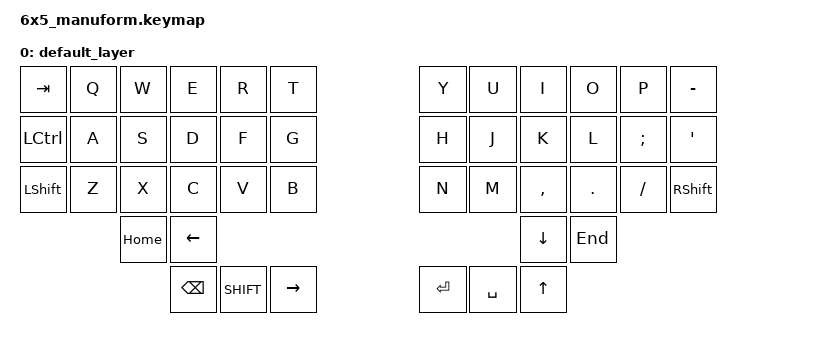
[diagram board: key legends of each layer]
/*
 * Copyright (c) 2020 The ZMK Contributors
 *
 * SPDX-License-Identifier: MIT
 */

#include <behaviors.dtsi>
#include <dt-bindings/zmk/keys.h>
#include <dt-bindings/zmk/bt.h>
#include <dt-bindings/zmk/ext_power.h>

/ {
	keymap {
		compatible = "zmk,keymap";

		default_layer {
// ------------------------------------------------------------------------------------------------------------
// |  ESC  |  1  |  2  |  3   |  4   |  5   |                   |  6   |  7    |  8    |  9   |   0   |   `   |
// |  TAB  |  Q  |  W  |  E   |  R   |  T   |                   |  Y   |  U    |  I    |  O   |   P   |   -   |
// |  CTRL |  A  |  S  |  D   |  F   |  G   |                   |  H   |  J    |  K    |  L   |   ;   |   '   |
// | SHIFT |  Z  |  X  |  C   |  V   |  B   |   "["  |  |  "]"  |  N   |  M    |  ,    |  .   |   /   | SHIFT |
//                     | ALT  | GUI  | LOWER|  SPACE |  | ENTER | RAISE| BSPC  | GUI   |
			bindings = <

&kp TAB   &kp Q  &kp W  	&kp E    &kp R    	&kp T                      &kp Y  &kp U    &kp I     &kp O   &kp P    &kp MINUS
&kp LCTRL &kp A  &kp S  	&kp D    &kp F    	&kp G                      &kp H  &kp J    &kp K     &kp L   &kp SEMI &kp SQT
&kp LSHFT &kp Z  &kp X  	&kp C    &kp V    	&kp B					   &kp N  &kp M    &kp COMMA &kp DOT &kp FSLH &kp RSHFT
                 &kp HOME 	&kp LEFT													   &kp DOWN  &kp END
				 			&kp BSPC &kp SHIFT  &kp RIGHT				   &kp RET &kp SPACE &kp UP
			>;
		};
	};
};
